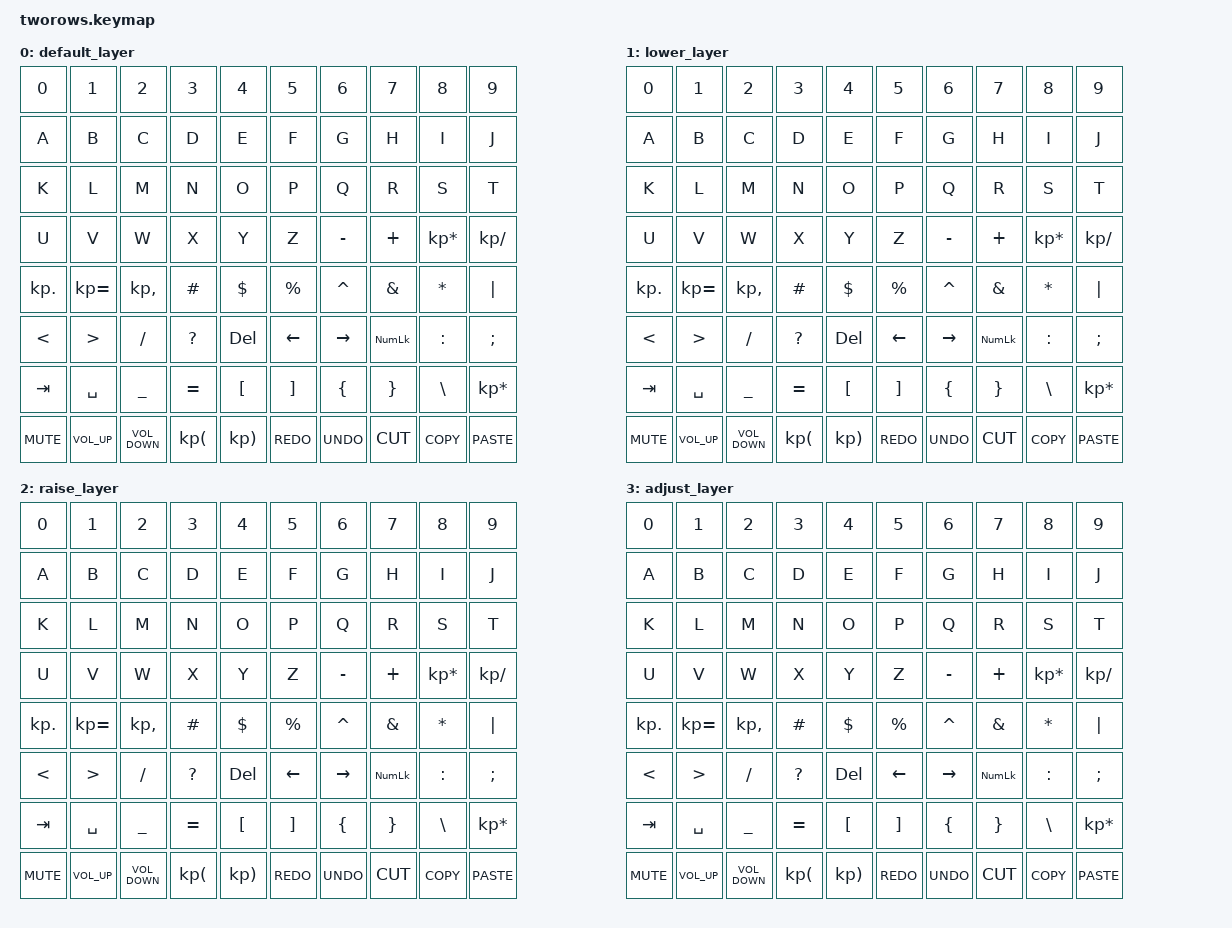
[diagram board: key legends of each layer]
 #include <behaviors.dtsi>
 #include <dt-bindings/zmk/keys.h>
//  #include <dt-bindings/zmk/bt.h>
//  #include <dt-bindings/zmk/rgb.h>
//  #include <dt-bindings/zmk/ext_power.h>
//  #include <dt-bindings/zmk/outputs.h>

 #define DEFAULT 0
 #define LOWER  1
 #define RAISE  2
 #define ADJUST 3

/* NOTE: At the time of the creation of this keymap, there are no specified codes for 'eisuu' and 'kana' input in ZMK.
However, 'LANG1' and 'LANG2' are fully-functioning candidates for 'kana' and 'eisuu' input respectively.
As such, those are in use within the default layer at this time.*/

/ {
       keymap {
              compatible = "zmk,keymap";
              default_layer {
 
                     bindings = <
       &kp N0 &kp N1 &kp N2 &kp N3 &kp N4 &kp N5 &kp N6 &kp N7 &kp N8 &kp N9
       &kp A  &kp B  &kp C  &kp D  &kp E  &kp F  &kp G  &kp H  &kp I  &kp J
       &kp K  &kp L  &kp M  &kp N  &kp O  &kp P  &kp Q  &kp R  &kp S  &kp T
       &kp U  &kp V  &kp W  &kp X  &kp Y  &kp Z  &kp MINUS  &kp PLUS  &kp KP_MULTIPLY  &kp KP_DIVIDE
       &kp KP_DOT &kp KP_EQUAL &kp KP_COMMA &kp HASH &kp DOLLAR &kp PERCENT &kp CARET &kp AMPERSAND &kp ASTERISK &kp PIPE
       &kp LESS_THAN &kp GREATER_THAN &kp SLASH &kp QUESTION &kp DELETE &kp LEFT_ARROW &kp RIGHT_ARROW &kp KP_NUMLOCK &kp COLON &kp SEMICOLON
       &kp TAB &kp SPACE &kp UNDERSCORE &kp EQUAL &kp LEFT_BRACKET &kp RIGHT_BRACKET &kp LEFT_BRACE &kp RIGHT_BRACE &kp BACKSLASH &kp KP_ASTERISK
       &kp K_MUTE &kp K_VOLUME_UP &kp K_VOLUME_DOWN &kp KP_LEFT_PARENTHESIS &kp KP_RIGHT_PARENTHESIS &kp K_REDO &kp K_UNDO &kp K_CUT &kp K_COPY &kp K_PASTE
                     >;
              };
              lower_layer {
                     bindings = <
       &kp N0 &kp N1 &kp N2 &kp N3 &kp N4 &kp N5 &kp N6 &kp N7 &kp N8 &kp N9
       &kp A  &kp B  &kp C  &kp D  &kp E  &kp F  &kp G  &kp H  &kp I  &kp J
       &kp K  &kp L  &kp M  &kp N  &kp O  &kp P  &kp Q  &kp R  &kp S  &kp T
       &kp U  &kp V  &kp W  &kp X  &kp Y  &kp Z  &kp MINUS  &kp PLUS  &kp KP_MULTIPLY  &kp KP_DIVIDE
       &kp KP_DOT &kp KP_EQUAL &kp KP_COMMA &kp HASH &kp DOLLAR &kp PERCENT &kp CARET &kp AMPERSAND &kp ASTERISK &kp PIPE
       &kp LESS_THAN &kp GREATER_THAN &kp SLASH &kp QUESTION &kp DELETE &kp LEFT_ARROW &kp RIGHT_ARROW &kp KP_NUMLOCK &kp COLON &kp SEMICOLON
       &kp TAB &kp SPACE &kp UNDERSCORE &kp EQUAL &kp LEFT_BRACKET &kp RIGHT_BRACKET &kp LEFT_BRACE &kp RIGHT_BRACE &kp BACKSLASH &kp KP_ASTERISK
       &kp K_MUTE &kp K_VOLUME_UP &kp K_VOLUME_DOWN &kp KP_LEFT_PARENTHESIS &kp KP_RIGHT_PARENTHESIS &kp K_REDO &kp K_UNDO &kp K_CUT &kp K_COPY &kp K_PASTE
                     >;
              };
              raise_layer {
                     bindings = <
       &kp N0 &kp N1 &kp N2 &kp N3 &kp N4 &kp N5 &kp N6 &kp N7 &kp N8 &kp N9
       &kp A  &kp B  &kp C  &kp D  &kp E  &kp F  &kp G  &kp H  &kp I  &kp J
       &kp K  &kp L  &kp M  &kp N  &kp O  &kp P  &kp Q  &kp R  &kp S  &kp T
       &kp U  &kp V  &kp W  &kp X  &kp Y  &kp Z  &kp MINUS  &kp PLUS  &kp KP_MULTIPLY  &kp KP_DIVIDE
       &kp KP_DOT &kp KP_EQUAL &kp KP_COMMA &kp HASH &kp DOLLAR &kp PERCENT &kp CARET &kp AMPERSAND &kp ASTERISK &kp PIPE
       &kp LESS_THAN &kp GREATER_THAN &kp SLASH &kp QUESTION &kp DELETE &kp LEFT_ARROW &kp RIGHT_ARROW &kp KP_NUMLOCK &kp COLON &kp SEMICOLON
       &kp TAB &kp SPACE &kp UNDERSCORE &kp EQUAL &kp LEFT_BRACKET &kp RIGHT_BRACKET &kp LEFT_BRACE &kp RIGHT_BRACE &kp BACKSLASH &kp KP_ASTERISK
       &kp K_MUTE &kp K_VOLUME_UP &kp K_VOLUME_DOWN &kp KP_LEFT_PARENTHESIS &kp KP_RIGHT_PARENTHESIS &kp K_REDO &kp K_UNDO &kp K_CUT &kp K_COPY &kp K_PASTE
                     >;
              };
              adjust_layer {
                     bindings = <
       &kp N0 &kp N1 &kp N2 &kp N3 &kp N4 &kp N5 &kp N6 &kp N7 &kp N8 &kp N9
       &kp A  &kp B  &kp C  &kp D  &kp E  &kp F  &kp G  &kp H  &kp I  &kp J
       &kp K  &kp L  &kp M  &kp N  &kp O  &kp P  &kp Q  &kp R  &kp S  &kp T
       &kp U  &kp V  &kp W  &kp X  &kp Y  &kp Z  &kp MINUS  &kp PLUS  &kp KP_MULTIPLY  &kp KP_DIVIDE
       &kp KP_DOT &kp KP_EQUAL &kp KP_COMMA &kp HASH &kp DOLLAR &kp PERCENT &kp CARET &kp AMPERSAND &kp ASTERISK &kp PIPE
       &kp LESS_THAN &kp GREATER_THAN &kp SLASH &kp QUESTION &kp DELETE &kp LEFT_ARROW &kp RIGHT_ARROW &kp KP_NUMLOCK &kp COLON &kp SEMICOLON
       &kp TAB &kp SPACE &kp UNDERSCORE &kp EQUAL &kp LEFT_BRACKET &kp RIGHT_BRACKET &kp LEFT_BRACE &kp RIGHT_BRACE &kp BACKSLASH &kp KP_ASTERISK
       &kp K_MUTE &kp K_VOLUME_UP &kp K_VOLUME_DOWN &kp KP_LEFT_PARENTHESIS &kp KP_RIGHT_PARENTHESIS &kp K_REDO &kp K_UNDO &kp K_CUT &kp K_COPY &kp K_PASTE
                     >;
              };
       };
};
